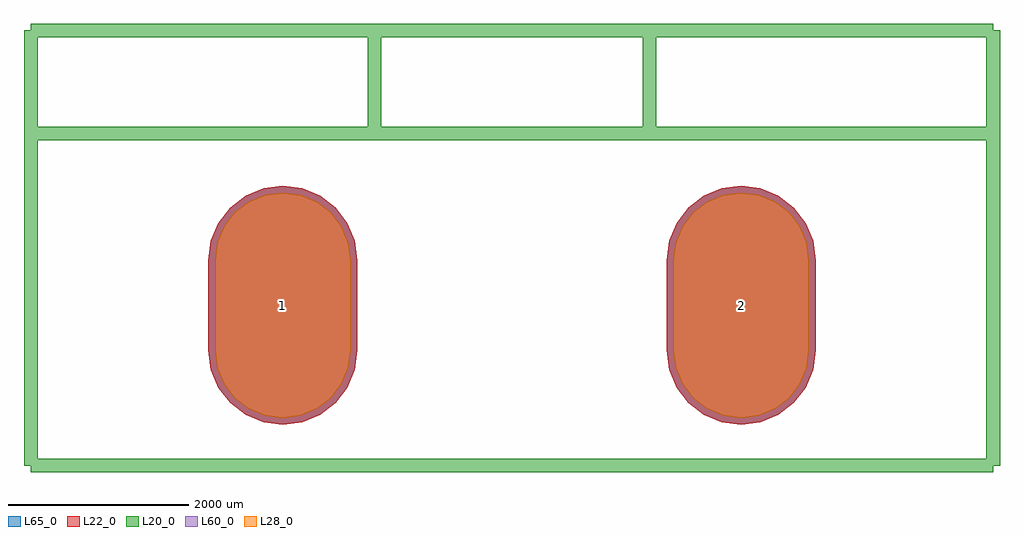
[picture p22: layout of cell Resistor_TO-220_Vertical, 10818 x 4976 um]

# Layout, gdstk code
import gdstk
lib = gdstk.Library(unit=1e-6, precision=1e-09)
def P(c, l, *ps):  # polygons
    for p in ps: c.add(gdstk.Polygon(p, *l))
L20_0 = (20, 0)
L22_0 = (22, 0)
L28_0 = (28, 0)
L60_0 = (60, 0)
L65_0 = (65, 0)

resistor_to_220_vertical = lib.new_cell('Resistor_TO-220_Vertical')
P(resistor_to_220_vertical, L22_0, [(2540,-1324.68),(2753.673,-1296.549),(2952.785,-1214.075),(3123.766,-1082.876),(3254.965,-911.895),(3337.439,-712.783),(3365.57,-499.11),(3365.57,499.11),(3337.439,712.783),(3254.965,911.895),(3123.766,1082.876),(2952.785,1214.075),(2753.673,1296.549),(2540,1324.68),(2326.327,1296.549),(2127.215,1214.075),(1956.234,1082.876),(1825.035,911.895),(1742.561,712.783),(1714.43,499.11),(1714.43,-499.11),(1742.561,-712.783),(1825.035,-911.895),(1956.234,-1082.876),(2127.215,-1214.075),(2326.327,-1296.549)],
  [(-2540,-1324.68),(-2326.327,-1296.549),(-2127.215,-1214.075),(-1956.234,-1082.876),(-1825.035,-911.895),(-1742.561,-712.783),(-1714.43,-499.11),(-1714.43,499.11),(-1742.561,712.783),(-1825.035,911.895),(-1956.234,1082.876),(-2127.215,1214.075),(-2326.327,1296.549),(-2540,1324.68),(-2753.673,1296.549),(-2952.785,1214.075),(-3123.766,1082.876),(-3254.965,911.895),(-3337.439,712.783),(-3365.57,499.11),(-3365.57,-499.11),(-3337.439,-712.783),(-3254.965,-911.895),(-3123.766,-1082.876),(-2952.785,-1214.075),(-2753.673,-1296.549)])
P(resistor_to_220_vertical, L28_0, [(2540,-1249.68),(2734.262,-1224.105),(2915.285,-1149.123),(3070.733,-1029.843),(3190.013,-874.395),(3264.995,-693.372),(3290.57,-499.11),(3290.57,499.11),(3264.995,693.372),(3190.013,874.395),(3070.733,1029.843),(2915.285,1149.123),(2734.262,1224.105),(2540,1249.68),(2345.738,1224.105),(2164.715,1149.123),(2009.267,1029.843),(1889.987,874.395),(1815.005,693.372),(1789.43,499.11),(1789.43,-499.11),(1815.005,-693.372),(1889.987,-874.395),(2009.267,-1029.843),(2164.715,-1149.123),(2345.738,-1224.105)],
  [(-2540,-1249.68),(-2345.738,-1224.105),(-2164.715,-1149.123),(-2009.267,-1029.843),(-1889.987,-874.395),(-1815.005,-693.372),(-1789.43,-499.11),(-1789.43,499.11),(-1815.005,693.372),(-1889.987,874.395),(-2009.267,1029.843),(-2164.715,1149.123),(-2345.738,1224.105),(-2540,1249.68),(-2734.262,1224.105),(-2915.285,1149.123),(-3070.733,1029.843),(-3190.013,874.395),(-3264.995,693.372),(-3290.57,499.11),(-3290.57,-499.11),(-3264.995,-693.372),(-3190.013,-874.395),(-3070.733,-1029.843),(-2915.285,-1149.123),(-2734.262,-1224.105)])
P(resistor_to_220_vertical, L60_0, [(2540,-1249.68),(2734.262,-1224.105),(2915.285,-1149.123),(3070.733,-1029.843),(3190.013,-874.395),(3264.995,-693.372),(3290.57,-499.11),(3290.57,499.11),(3264.995,693.372),(3190.013,874.395),(3070.733,1029.843),(2915.285,1149.123),(2734.262,1224.105),(2540,1249.68),(2345.738,1224.105),(2164.715,1149.123),(2009.267,1029.843),(1889.987,874.395),(1815.005,693.372),(1789.43,499.11),(1789.43,-499.11),(1815.005,-693.372),(1889.987,-874.395),(2009.267,-1029.843),(2164.715,-1149.123),(2345.738,-1224.105)],
  [(-2540,-1249.68),(-2345.738,-1224.105),(-2164.715,-1149.123),(-2009.267,-1029.843),(-1889.987,-874.395),(-1815.005,-693.372),(-1789.43,-499.11),(-1789.43,499.11),(-1815.005,693.372),(-1889.987,874.395),(-2009.267,1029.843),(-2164.715,1149.123),(-2345.738,1224.105),(-2540,1249.68),(-2734.262,1224.105),(-2915.285,1149.123),(-3070.733,1029.843),(-3190.013,874.395),(-3264.995,693.372),(-3290.57,499.11),(-3290.57,-499.11),(-3264.995,-693.372),(-3190.013,-874.395),(-3070.733,-1029.843),(-2915.285,-1149.123),(-2734.262,-1224.105)])
P(resistor_to_220_vertical, L65_0, [(2540,-1324.68),(2753.673,-1296.549),(2952.785,-1214.075),(3123.766,-1082.876),(3254.965,-911.895),(3337.439,-712.783),(3365.57,-499.11),(3365.57,499.11),(3337.439,712.783),(3254.965,911.895),(3123.766,1082.876),(2952.785,1214.075),(2753.673,1296.549),(2540,1324.68),(2326.327,1296.549),(2127.215,1214.075),(1956.234,1082.876),(1825.035,911.895),(1742.561,712.783),(1714.43,499.11),(1714.43,-499.11),(1742.561,-712.783),(1825.035,-911.895),(1956.234,-1082.876),(2127.215,-1214.075),(2326.327,-1296.549)],
  [(-2540,-1324.68),(-2326.327,-1296.549),(-2127.215,-1214.075),(-1956.234,-1082.876),(-1825.035,-911.895),(-1742.561,-712.783),(-1714.43,-499.11),(-1714.43,499.11),(-1742.561,712.783),(-1825.035,911.895),(-1956.234,1082.876),(-2127.215,1214.075),(-2326.327,1296.549),(-2540,1324.68),(-2753.673,1296.549),(-2952.785,1214.075),(-3123.766,1082.876),(-3254.965,911.895),(-3337.439,712.783),(-3365.57,499.11),(-3365.57,-499.11),(-3337.439,-712.783),(-3254.965,-911.895),(-3123.766,-1082.876),(-2952.785,-1214.075),(-2753.673,-1296.549)])
resistor_to_220_vertical.add(gdstk.FlexPath([(0,3048),(5334,3048)], 149.998, ends="flush", simple_path=True, layer=20, datatype=0))  # L20_0
resistor_to_220_vertical.add(gdstk.FlexPath([(0,3048),(-5334,3048)], 149.998, ends="flush", simple_path=True, layer=20, datatype=0))  # L20_0
resistor_to_220_vertical.add(gdstk.FlexPath([(-5334,1905),(-5334,3048)], 149.998, ends="flush", simple_path=True, layer=20, datatype=0))  # L20_0
resistor_to_220_vertical.add(gdstk.FlexPath([(5334,1905),(-5334,1905)], 149.998, ends="flush", simple_path=True, layer=20, datatype=0))  # L20_0
resistor_to_220_vertical.add(gdstk.FlexPath([(5334,3048),(5334,1905)], 149.998, ends="flush", simple_path=True, layer=20, datatype=0))  # L20_0
resistor_to_220_vertical.add(gdstk.FlexPath([(-5334,-1778),(-5334,1905)], 149.998, ends="flush", simple_path=True, layer=20, datatype=0))  # L20_0
resistor_to_220_vertical.add(gdstk.FlexPath([(5334,-1778),(-5334,-1778)], 149.998, ends="flush", simple_path=True, layer=20, datatype=0))  # L20_0
resistor_to_220_vertical.add(gdstk.FlexPath([(5334,1905),(5334,-1778)], 149.998, ends="flush", simple_path=True, layer=20, datatype=0))  # L20_0
resistor_to_220_vertical.add(gdstk.FlexPath([(1524,3048),(1524,1905)], 149.998, ends="flush", simple_path=True, layer=20, datatype=0))  # L20_0
resistor_to_220_vertical.add(gdstk.FlexPath([(-1524,3048),(-1524,1905)], 149.998, ends="flush", simple_path=True, layer=20, datatype=0))  # L20_0
resistor_to_220_vertical.add(gdstk.Label('2', (2540,0), layer=28, texttype=0))
resistor_to_220_vertical.add(gdstk.Label('1', (-2540,0), layer=28, texttype=0))
resistor_to_220_vertical.add(gdstk.Label('type', (0,-3810), layer=9, texttype=0))
resistor_to_220_vertical.add(gdstk.Label('devicename', (0,5080), layer=9, texttype=0))

lib.write_gds('Resistor_TO-220_Vertical.gds')
